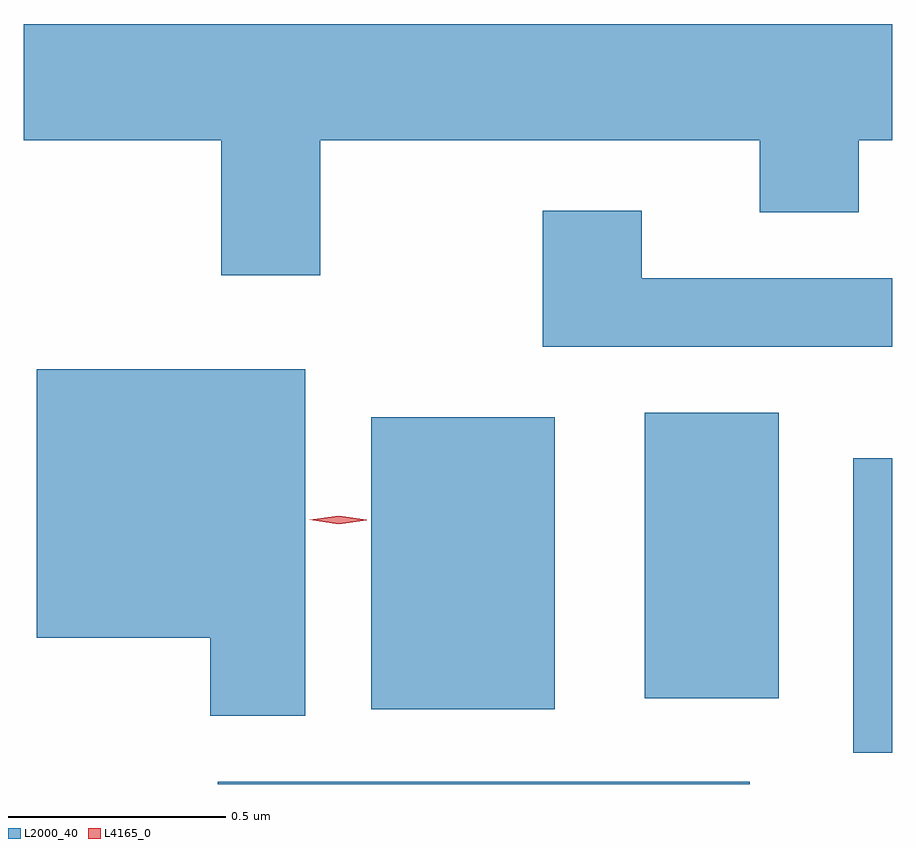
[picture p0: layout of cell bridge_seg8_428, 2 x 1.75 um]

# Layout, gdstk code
import gdstk
lib = gdstk.Library(unit=1e-6, precision=1e-09)
def R(c, l, rs):  # rectangles x0, y0, x1, y1
    for r in rs: c.add(gdstk.rectangle(r[:2], r[2:], *l))
def P(c, l, *ps):  # polygons
    for p in ps: c.add(gdstk.Polygon(p, *l))
L2000_40 = (2000, 40)
L4165_0 = (4165, 0)

bridge_seg8_428 = lib.new_cell('bridge_seg8_428')
R(bridge_seg8_428, L2000_40, [(1004.523,1872.674,1005.748,1872.679), (1005.986,1872.746,1006.076,1873.424), (1004.876,1872.846,1005.299,1873.519), (1005.506,1872.871,1005.814,1873.529)])
P(bridge_seg8_428, L2000_40, [(1004.759,1874.156),(1005.771,1874.156),(1005.771,1873.991),(1005.999,1873.991),(1005.999,1874.156),(1006.076,1874.156),(1006.076,1874.424),(1004.076,1874.424),(1004.076,1874.156),(1004.531,1874.156),(1004.531,1873.846),(1004.759,1873.846)],
  [(1006.076,1873.839),(1005.499,1873.839),(1005.499,1873.994),(1005.271,1873.994),(1005.271,1873.681),(1006.076,1873.681)],
  [(1004.724,1873.629),(1004.106,1873.629),(1004.106,1873.011),(1004.506,1873.011),(1004.506,1872.831),(1004.724,1872.831)])
P(bridge_seg8_428, L4165_0, [(1004.801,1873.272),(1004.735,1873.282),(1004.735,1873.283),(1004.735,1873.283),(1004.801,1873.292),(1004.866,1873.282),(1004.866,1873.282),(1004.866,1873.281)])

lib.write_gds('bridge_seg8_428.gds')
